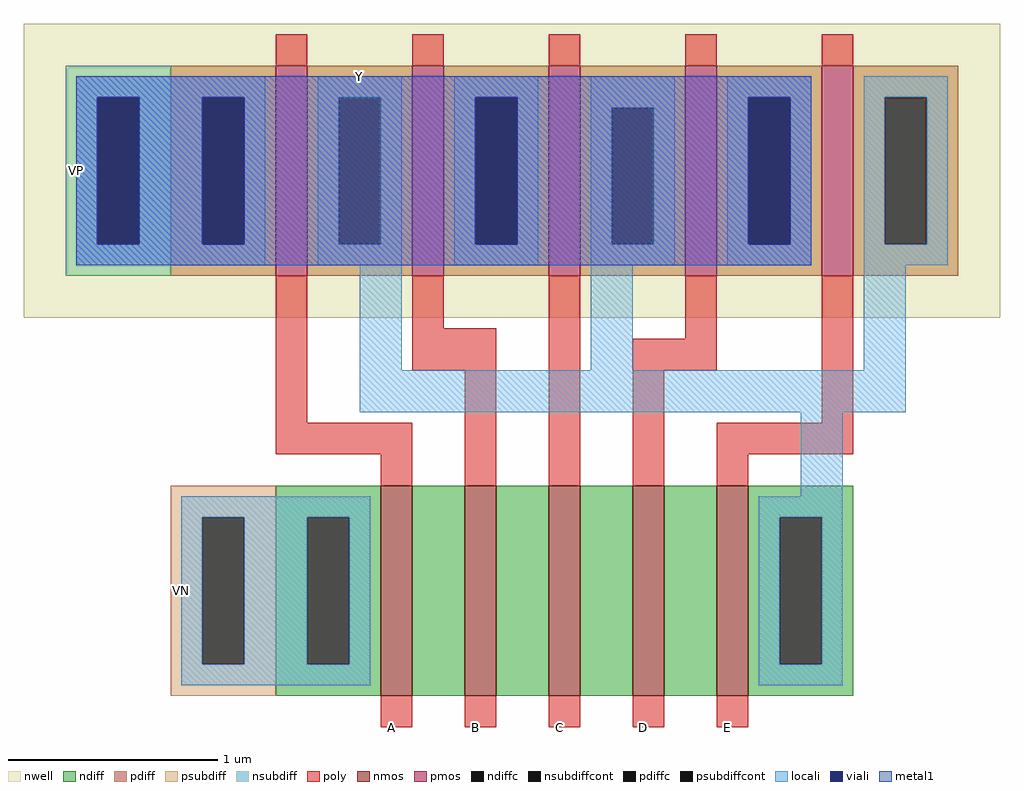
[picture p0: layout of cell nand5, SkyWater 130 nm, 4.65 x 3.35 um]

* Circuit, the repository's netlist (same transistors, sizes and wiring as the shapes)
* SPICE3 file created from nand5.ext - technology: sky130A

*.subckt nand5 A B Y VP VN C D E
X0 a_180_0# A VN VN sky130_fd_pr__nfet_01v8 ad=0.125 pd=1.25 as=0.5 ps=3 w=1 l=0.15
X1 VP B Y VP sky130_fd_pr__pfet_01v8 ad=0.25 pd=1.5 as=0.25 ps=1.5 w=1 l=0.15
X2 Y E VP VP sky130_fd_pr__pfet_01v8 ad=0.5 pd=3 as=0.25 ps=1.5 w=1 l=0.15
X3 a_420_0# D a_340_0# VN sky130_fd_pr__nfet_01v8 ad=0.125 pd=1.25 as=0.125 ps=1.25 w=1 l=0.15
X4 VP D Y VP sky130_fd_pr__pfet_01v8 ad=0.25 pd=1.5 as=0.25 ps=1.5 w=1 l=0.15
X5 a_260_0# B a_180_0# VN sky130_fd_pr__nfet_01v8 ad=0.125 pd=1.25 as=0.125 ps=1.25 w=1 l=0.15
X6 Y C VP VP sky130_fd_pr__pfet_01v8 ad=0.25 pd=1.5 as=0.25 ps=1.5 w=1 l=0.15
X7 Y E a_420_0# VN sky130_fd_pr__nfet_01v8 ad=0.5 pd=3 as=0.125 ps=1.25 w=1 l=0.15
X8 a_340_0# C a_260_0# VN sky130_fd_pr__nfet_01v8 ad=0.125 pd=1.25 as=0.125 ps=1.25 w=1 l=0.15
X9 Y A VP VP sky130_fd_pr__pfet_01v8 ad=0.25 pd=1.5 as=0.5 ps=3 w=1 l=0.15
*.ends

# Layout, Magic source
magic
tech sky130A
<< nwell >>
rect -95 180 370 320
<< nmos >>
rect 75 0 90 100
rect 115 0 130 100
rect 155 0 170 100
rect 195 0 210 100
rect 235 0 250 100
<< pmos >>
rect 25 200 40 300
rect 90 200 105 300
rect 155 200 170 300
rect 220 200 235 300
rect 285 200 300 300
<< ndiff >>
rect 25 85 75 100
rect 25 15 40 85
rect 60 15 75 85
rect 25 0 75 15
rect 90 0 115 100
rect 130 0 155 100
rect 170 0 195 100
rect 210 0 235 100
rect 250 85 300 100
rect 250 15 265 85
rect 285 15 300 85
rect 250 0 300 15
<< pdiff >>
rect -25 285 25 300
rect -25 215 -10 285
rect 10 215 25 285
rect -25 200 25 215
rect 40 285 90 300
rect 40 215 55 285
rect 75 215 90 285
rect 40 200 90 215
rect 105 285 155 300
rect 105 215 120 285
rect 140 215 155 285
rect 105 200 155 215
rect 170 280 220 300
rect 170 215 185 280
rect 205 215 220 280
rect 170 200 220 215
rect 235 285 285 300
rect 235 215 250 285
rect 270 215 285 285
rect 235 200 285 215
rect 300 285 350 300
rect 300 215 315 285
rect 335 215 350 285
rect 300 200 350 215
<< ndiffc >>
rect 40 15 60 85
rect 265 15 285 85
<< pdiffc >>
rect -10 215 10 285
rect 55 215 75 285
rect 120 215 140 285
rect 185 215 205 280
rect 250 215 270 285
rect 315 215 335 285
<< psubdiff >>
rect -25 85 25 100
rect -25 15 -10 85
rect 10 15 25 85
rect -25 0 25 15
<< nsubdiff >>
rect -75 285 -25 300
rect -75 215 -60 285
rect -40 215 -25 285
rect -75 200 -25 215
<< psubdiffcont >>
rect -10 15 10 85
<< nsubdiffcont >>
rect -60 215 -40 285
<< poly >>
rect 25 300 40 315
rect 90 300 105 315
rect 155 300 170 315
rect 220 300 235 315
rect 285 300 300 315
rect 25 130 40 200
rect 90 175 105 200
rect 90 155 130 175
rect 25 115 90 130
rect 75 100 90 115
rect 115 100 130 155
rect 155 100 170 200
rect 220 170 235 200
rect 195 155 235 170
rect 195 100 210 155
rect 285 130 300 200
rect 235 115 300 130
rect 235 100 250 115
rect 75 -15 90 0
rect 115 -15 130 0
rect 155 -15 170 0
rect 195 -15 210 0
rect 235 -15 250 0
<< locali >>
rect -70 285 20 295
rect -70 215 -60 285
rect -40 215 -10 285
rect 10 215 20 285
rect -70 205 20 215
rect 45 285 85 295
rect 45 215 55 285
rect 75 215 85 285
rect 45 205 85 215
rect 110 285 150 295
rect 110 215 120 285
rect 140 215 150 285
rect 110 205 150 215
rect 175 280 215 295
rect 175 215 185 280
rect 205 215 215 280
rect 175 205 215 215
rect 240 285 280 295
rect 240 215 250 285
rect 270 215 280 285
rect 240 205 280 215
rect 305 285 345 295
rect 305 215 315 285
rect 335 215 345 285
rect 305 205 345 215
rect 65 155 85 205
rect 175 155 195 205
rect 305 155 325 205
rect 65 135 325 155
rect 275 95 295 135
rect -20 85 70 95
rect -20 15 -10 85
rect 10 15 40 85
rect 60 15 70 85
rect -20 5 70 15
rect 255 85 295 95
rect 255 15 265 85
rect 285 15 295 85
rect 255 5 295 15
<< viali >>
rect -60 215 -40 285
rect -10 215 10 285
rect 120 215 140 285
rect 250 215 270 285
<< metal1 >>
rect -70 285 280 295
rect -70 215 -60 285
rect -40 215 -10 285
rect 10 215 120 285
rect 140 215 250 285
rect 270 215 280 285
rect -70 205 280 215
<< labels >>
flabel locali 65 295 65 295 5 FreeSans 160 0 0 0 Y
port 3 s
flabel locali -70 250 -70 250 3 FreeSans 160 0 0 0 VP
port 4 e
flabel poly 200 -15 200 -15 1 FreeSans 160 0 0 0 D
port 7 n
flabel poly 160 -15 160 -15 1 FreeSans 160 0 0 0 C
port 6 n
flabel locali -20 50 -20 50 3 FreeSans 160 0 0 0 VN
port 5 e
flabel poly 120 -15 120 -15 1 FreeSans 160 0 0 0 B
port 2 n
flabel poly 80 -15 80 -15 1 FreeSans 160 0 0 0 A
port 1 n
flabel poly 240 -15 240 -15 1 FreeSans 160 0 0 0 E
port 8 n
<< end >>
